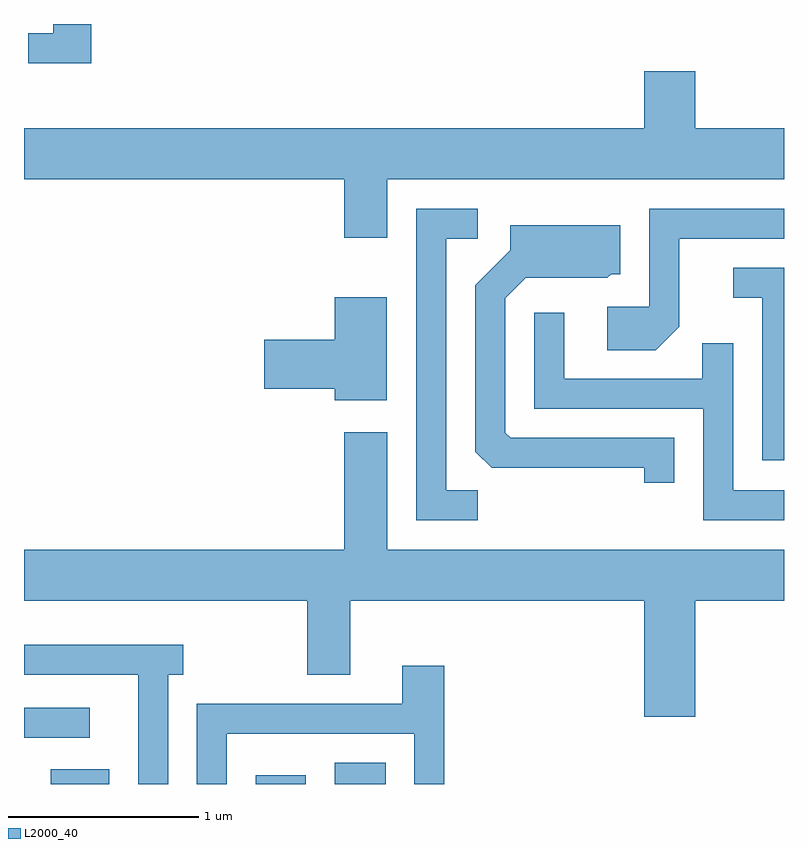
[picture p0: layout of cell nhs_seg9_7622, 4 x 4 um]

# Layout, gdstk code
import gdstk
lib = gdstk.Library(unit=1e-6, precision=1e-09)
def R(c, l, rs):  # rectangles x0, y0, x1, y1
    for r in rs: c.add(gdstk.rectangle(r[:2], r[2:], *l))
def P(c, l, *ps):  # polygons
    for p in ps: c.add(gdstk.Polygon(p, *l))
L2000_40 = (2000, 40)

nhs_seg9_7622 = lib.new_cell('nhs_seg9_7622')
R(nhs_seg9_7622, L2000_40, [(411.751,1966.432,412.059,1966.509), (412.831,1966.432,413.094,1966.479), (413.246,1966.432,413.514,1966.544), (411.611,1966.676,411.958,1966.834)])
P(nhs_seg9_7622, L2000_40, [(411.964,1970.432),(411.766,1970.432),(411.766,1970.384),(411.633,1970.384),(411.633,1970.226),(411.964,1970.226)],
  [(413.524,1969.616),(415.611,1969.616),(415.611,1969.884),(415.144,1969.884),(415.144,1970.184),(414.876,1970.184),(414.876,1969.884),(411.611,1969.884),(411.611,1969.616),(413.296,1969.616),(413.296,1969.306),(413.524,1969.306)],
  [(415.059,1968.839),(415.059,1969.301),(415.611,1969.301),(415.611,1969.459),(414.901,1969.459),(414.901,1968.944),(414.681,1968.944),(414.681,1968.716),(414.937,1968.716)],
  [(413.998,1967.979),(413.834,1967.979),(413.834,1969.301),(413.998,1969.301),(413.998,1969.459),(413.676,1969.459),(413.676,1967.821),(413.998,1967.821)],
  [(415.034,1968.254),(414.172,1968.254),(414.144,1968.282),(414.144,1968.989),(414.252,1969.096),(414.682,1969.096),(414.702,1969.116),(414.749,1969.116),(414.749,1969.374),(414.171,1969.374),(414.171,1969.242),(413.986,1969.057),(413.986,1968.182),(414.072,1968.096),(414.876,1968.096),(414.876,1968.018),(415.034,1968.018)],
  [(415.611,1969.149),(415.343,1969.149),(415.343,1968.991),(415.496,1968.991),(415.496,1968.136),(415.611,1968.136)],
  [(413.519,1968.994),(413.246,1968.994),(413.246,1968.769),(412.876,1968.769),(412.876,1968.511),(413.246,1968.511),(413.246,1968.451),(413.519,1968.451)],
  [(415.611,1967.979),(415.344,1967.979),(415.344,1968.753),(415.181,1968.753),(415.181,1968.564),(414.454,1968.564),(414.454,1968.913),(414.296,1968.913),(414.296,1968.406),(415.186,1968.406),(415.186,1967.821),(415.611,1967.821)],
  [(415.144,1967.396),(415.611,1967.396),(415.611,1967.664),(413.524,1967.664),(413.524,1968.284),(413.296,1968.284),(413.296,1967.664),(411.611,1967.664),(411.611,1967.396),(413.101,1967.396),(413.101,1967.006),(413.329,1967.006),(413.329,1967.396),(414.876,1967.396),(414.876,1966.786),(415.144,1966.786)],
  [(412.369,1967.006),(412.448,1967.006),(412.448,1967.164),(411.611,1967.164),(411.611,1967.006),(412.211,1967.006),(412.211,1966.432),(412.369,1966.432)],
  [(412.679,1966.696),(413.666,1966.696),(413.666,1966.432),(413.824,1966.432),(413.824,1967.054),(413.601,1967.054),(413.601,1966.854),(412.521,1966.854),(412.521,1966.432),(412.679,1966.432)])

lib.write_gds('nhs_seg9_7622.gds')
